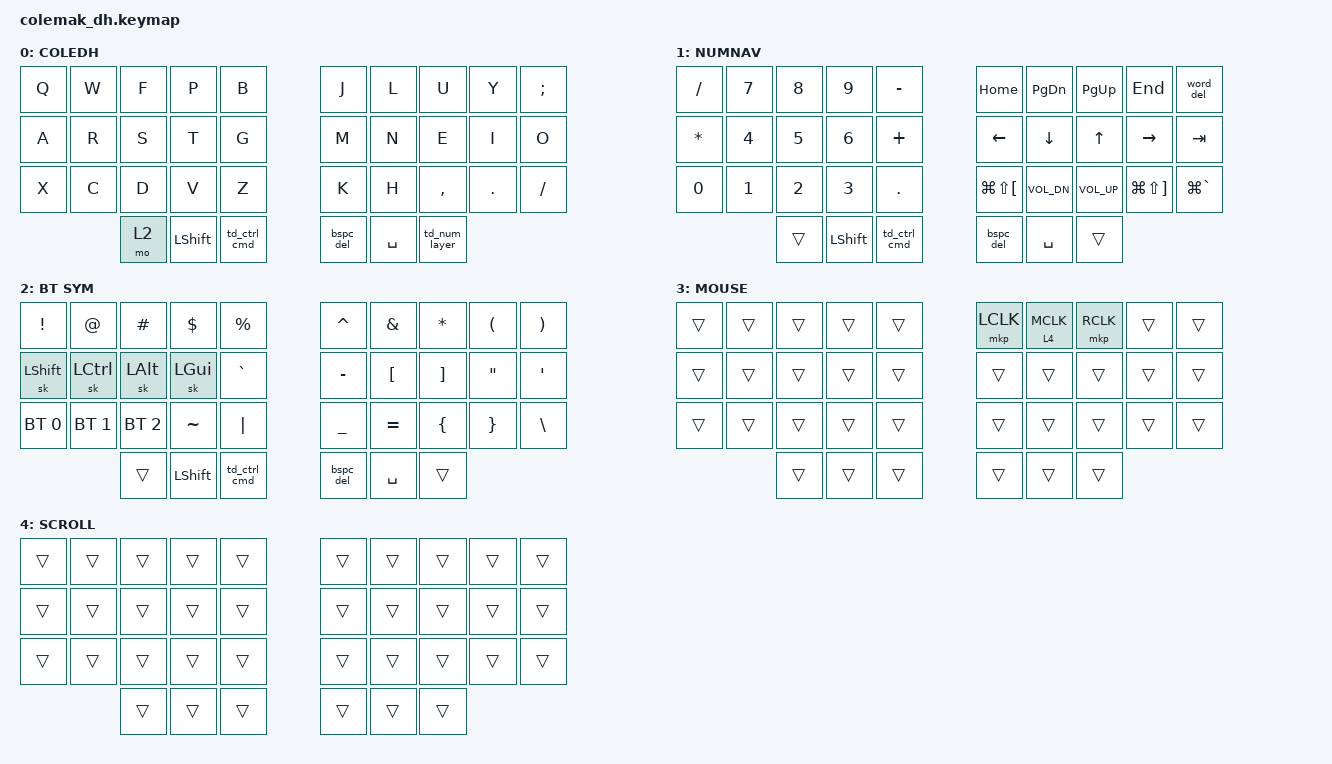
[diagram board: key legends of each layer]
/*
 * Ported verbatim from ~/dev/zmk-config (Corne 5-column, 3x5+3).
 * That layout is 36 keys and so is this one, so positions map 1:1 and the
 * combos below use the same indices they did on the Corne.
 *
 * Note: no matrix-transform is chosen here. The Charybdis selects its matrix
 * through zmk,physical-layout in boards/shields/charybdis_bt/charybdis.dtsi,
 * which already points at five_column_transform.
 */

#include <behaviors.dtsi>
#include <dt-bindings/zmk/keys.h>
#include <dt-bindings/zmk/bt.h>
#include <dt-bindings/zmk/pointing.h>

&sk {
        release-after-ms = <3000>;
        ignore-modifiers;
};

/ {
// ╭────┬────┬────┬────┬────╮  ╭────┬────┬────┬────┬────╮
//   00   01   02   03   04      05   06   07   08   09
// ├────┼────┼────┼────┼────┤  ├────┼────┼────┼────┼────┤
//   10   11   12   13   14      15   16   17   18   19
// ├────┼────┼────┼────┼────┤  ├────┼────┼────┼────┼────┤
//   20   21   22   23   24      25   26   27   28   29
// ╰────┴────┴────┼────┼────┤  ├────┼────┼────┴────┴────╯
//                  30   31  32  33   34   35
//              ╰────┴────┴────╯  ╰────┴────┴────╯

        behaviors {
                td_ctrl_cmd: td_ctrl_cmd {
                        compatible = "zmk,behavior-tap-dance";
                        #binding-cells = <0>;
                        tapping-term-ms = <300>;
                        bindings = <&kp LCTRL>, <&kp LGUI>;
                };
                word_del: word_del {
                        compatible = "zmk,behavior-macro";
                        #binding-cells = <0>;
                        wait-ms = <10>;
                        tap-ms = <10>;
                        bindings = <&kp LA(LS(LEFT))>, <&kp BSPC>;
                };
                bspc_del: bspc_del {
                        compatible = "zmk,behavior-mod-morph";
                        #binding-cells = <0>;
                        bindings = <&kp BSPC>, <&kp DEL>;
                        mods = <(MOD_LSFT|MOD_RSFT)>;
                };
                cmd_layer: cmd_layer {
                        compatible = "zmk,behavior-macro";
                        #binding-cells = <0>;
                        bindings = <&macro_press &mo 1 &kp LGUI>
                                 , <&macro_pause_for_release>
                                 , <&macro_release &mo 1 &kp LGUI>;
                };
                mclk_scroll: mclk_scroll {
                        compatible = "zmk,behavior-hold-tap";
                        #binding-cells = <2>;
                        flavor = "tap-preferred";
                        tapping-term-ms = <200>;
                        bindings = <&mo>, <&mkp>;
                };
                td_num_layer: td_num_layer {
                        compatible = "zmk,behavior-tap-dance";
                        #binding-cells = <0>;
                        tapping-term-ms = <300>;
                        bindings = <&mo 1>, <&cmd_layer>;
                };
        };

        combos {
                compatible = "zmk,combos";
                combo_enter {
                        timeout-ms = <50>;
                        key-positions = <16 17 18>; // N E I
                        bindings = <&kp RET>;
                };
                combo_esc {
                        timeout-ms = <50>;
                        key-positions = <11 12 13>; // R S T
                        bindings = <&kp ESC>;
                };
                combo_bt_clr {
                        timeout-ms = <50>;
                        key-positions = <20 21 22>; // BT0 + BT1 + BT2
                        layers = <2>; // Sym layer only
                        bindings = <&bt BT_CLR>;
                };
        };

        keymap {
                compatible = "zmk,keymap";

                default_layer {
                        display-name = "COLEDH";
// -----------------------------------------------------------------------------------------
// |  Q  |  W  |  F  |  P  |  B  |   |  J  |  L   |  U  |  Y  |  ;  |
// |  A  |  R  |  S  |  T  |  G  |   |  M  |  N   |  E  |  I  |  O  |
// |  X  |  C  |  D  |  V  |  Z  |   |  K  |  H   |  ,  |  .  |  /  |
//             | SYM | SFT | CTL |   | BSPC| SPC  | NUM |
                        bindings = <
   &kp Q &kp W &kp F &kp P &kp B   &kp J &kp L  &kp U     &kp Y   &kp SEMI
   &kp A &kp R &kp S &kp T &kp G   &kp M &kp N  &kp E     &kp I   &kp O
   &kp X &kp C &kp D &kp V &kp Z   &kp K &kp H  &kp COMMA &kp DOT &kp FSLH
              &mo 2 &kp LSHFT &td_ctrl_cmd   &bspc_del &kp SPACE &td_num_layer
                        >;
                };

                lower_layer {
                        display-name = "NUMNAV";
// -----------------------------------------------------------------------------------------
// |  /  |  7  |  8  |  9  |  -  |   | HME | PGD | PGU | END | WDL |
// |  *  |  4  |  5  |  6  |  +  |   | LFT | DWN |  UP | RGT | TAB |
// |  0  |  1  |  2  |  3  |  .  |   | PTB | VLD | VLU | NTB | NWN |
//             |     | SFT | CTL |   | BSPC| SPC |     |
                        bindings = <
   &kp FSLH  &kp N7 &kp N8 &kp N9 &kp MINUS   &kp HOME &kp PG_DN &kp PG_UP &kp END   &word_del
   &kp ASTRK &kp N4 &kp N5 &kp N6 &kp PLUS    &kp LEFT &kp DOWN  &kp UP    &kp RIGHT &kp TAB
   &kp N0    &kp N1 &kp N2 &kp N3 &kp DOT     &kp LG(LS(LBKT)) &kp C_VOL_DN &kp C_VOL_UP &kp LG(LS(RBKT)) &kp LG(GRAVE)
                            &trans &kp LSHFT &td_ctrl_cmd  &bspc_del &kp SPACE &trans
                        >;
                };

                raise_layer {
                        display-name = "BT SYM";
// -----------------------------------------------------------------------------------------
// |  !  |  @  |  #  |  $  |  %  |   |  ^  |  &  |  *  |  (  |  )  |
// | SFT | CTL | ALT | CMD |  `  |   |  -  |  [  |  ]  |  "  |  '  |
// | BT0 | BT1 | BT2 |  ~  |  \| |   |  _  |  =  |  {  |  }  |  \  |
//             |     | SFT | CTL |   | BSPC| SPC |     |
                        bindings = <
   &kp EXCL     &kp AT       &kp HASH     &kp DLLR     &kp PRCNT        &kp CARET &kp AMPS  &kp ASTRK &kp LPAR &kp RPAR
   &sk LSHFT    &sk LCTRL    &sk LALT     &sk LGUI     &kp GRAVE        &kp MINUS &kp LBKT  &kp RBKT  &kp DQT  &kp SQT
   &bt BT_SEL 0 &bt BT_SEL 1 &bt BT_SEL 2 &kp TILDE    &kp PIPE         &kp UNDER &kp EQUAL &kp LBRC  &kp RBRC &kp BSLH
                             &trans       &kp LSHFT    &td_ctrl_cmd     &bspc_del &kp SPACE &trans
                        >;
                };

                mouse_layer {
                        display-name = "MOUSE";
// Reached automatically by moving the trackball; see charybdis_pointer.dtsi.
// Everything except the three buttons is &trans, so you can keep typing and
// any non-excluded key drops the layer immediately.
// -----------------------------------------------------------------------------------------
// |     |     |     |     |     |   | LCK |MCK/ | RCK |     |     |
//                                     |     |SCRL |     |     |     |
// |     |     |     |     |     |   |     |     |     |     |     |
// |     |     |     |     |     |   |     |     |     |     |     |
//             |     | SFT | CTL |   |     |     |     |
                        bindings = <
   &trans &trans &trans &trans &trans   &mkp LCLK &mclk_scroll 4 MCLK &mkp RCLK &trans &trans
   &trans &trans &trans &trans &trans   &trans    &trans &trans    &trans    &trans
   &trans &trans &trans &trans &trans   &trans    &trans &trans    &trans    &trans
                 &trans &trans &trans   &trans &trans &trans
                        >;
                };

                scroll_layer {
                        display-name = "SCROLL";
// Held open by the hold half of &mclk_scroll on the MOUSE layer. Fully
// transparent; it exists only so charybdis_pointer.dtsi can turn trackball
// motion into scroll wheel events while it is active.
                        bindings = <
   &trans &trans &trans &trans &trans   &trans &trans &trans &trans &trans
   &trans &trans &trans &trans &trans   &trans &trans &trans &trans &trans
   &trans &trans &trans &trans &trans   &trans &trans &trans &trans &trans
                 &trans &trans &trans   &trans &trans &trans
                        >;
                };
        };
};
